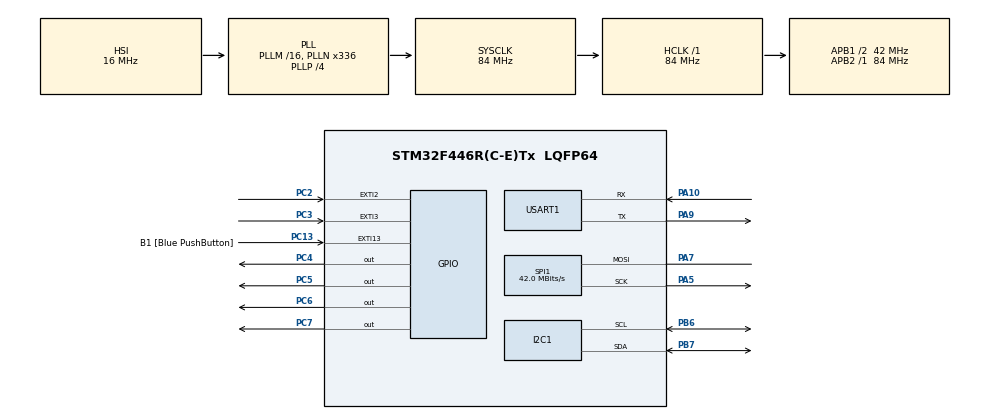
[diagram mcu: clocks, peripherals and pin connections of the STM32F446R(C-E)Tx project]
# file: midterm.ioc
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Mcu.Family=STM32F4
Mcu.Name=STM32F446R(C-E)Tx
Mcu.Package=LQFP64
NVIC.EXTI2_IRQn=true\:0\:0\:false\:false\:true\:true\:true\:true
NVIC.EXTI3_IRQn=true\:0\:0\:false\:false\:true\:true\:true\:true
NVIC.PriorityGroup=NVIC_PRIORITYGROUP_0
NVIC.TIM2_IRQn=true\:0\:0\:false\:false\:true\:true\:true\:true
PA10.Mode=Asynchronous
PA10.Signal=USART1_RX
PA13.GPIO_Label=TMS
PA13.Mode=Serial_Wire
PA13.Signal=SYS_JTMS-SWDIO
PA14.GPIO_Label=TCK
PA14.Mode=Serial_Wire
PA14.Signal=SYS_JTCK-SWCLK
PA5.Mode=Simplex_Bidirectional_Master
PA5.Signal=SPI1_SCK
PA7.Mode=Simplex_Bidirectional_Master
PA7.Signal=SPI1_MOSI
PA9.Mode=Asynchronous
PA9.Signal=USART1_TX
PB3.GPIO_Label=SWO
PB3.Signal=SYS_JTDO-SWO
PB6.Mode=I2C
PB6.Signal=I2C1_SCL
PB7.Mode=I2C
PB7.Signal=I2C1_SDA
PC13.GPIO_Label=B1 [Blue PushButton]
PC13.GPIO_ModeDefaultEXTI=GPIO_MODE_IT_FALLING
PC13.Signal=GPXTI13
PC14-OSC32_IN.Mode=LSE-External-Oscillator
PC14-OSC32_IN.Signal=RCC_OSC32_IN
PC15-OSC32_OUT.Mode=LSE-External-Oscillator
PC15-OSC32_OUT.Signal=RCC_OSC32_OUT
PC2.GPIO_PuPd=GPIO_PULLUP
PC2.Signal=GPXTI2
PC3.GPIO_PuPd=GPIO_PULLUP
PC3.Signal=GPXTI3
PC4.Signal=GPIO_Output
PC5.Signal=GPIO_Output
PC6.Signal=GPIO_Output
PC7.Signal=GPIO_Output
PH0-OSC_IN.Mode=HSE-External-Oscillator
PH0-OSC_IN.Signal=RCC_OSC_IN
PH1-OSC_OUT.Mode=HSE-External-Oscillator
PH1-OSC_OUT.Signal=RCC_OSC_OUT
ProjectManager.HeapSize=0x200
ProjectManager.StackSize=0x400
ProjectManager.TargetToolchain=STM32CubeIDE
RCC.48MHZClocksFreq_Value=84000000
RCC.AHBFreq_Value=84000000
RCC.APB1CLKDivider=RCC_HCLK_DIV2
RCC.APB1Freq_Value=42000000
RCC.APB1TimFreq_Value=84000000
RCC.APB2Freq_Value=84000000
RCC.APB2TimFreq_Value=84000000
RCC.CortexFreq_Value=84000000
RCC.FLatency-AdvancedSettings=FLASH_LATENCY_2
RCC.HCLKFreq_Value=84000000
RCC.HSE_VALUE=8000000
RCC.HSI_VALUE=16000000
RCC.PLLN=336
RCC.PLLP=RCC_PLLP_DIV4
RCC.SYSCLKFreq_VALUE=84000000
RCC.SYSCLKSource=RCC_SYSCLKSOURCE_PLLCLK
RCC.USBFreq_Value=168000000
RCC.VCOOutputFreq_Value=336000000
SPI1.CalculateBaudRate=42.0 MBits/s
SPI1.Direction=SPI_DIRECTION_1LINE
SPI1.Mode=SPI_MODE_MASTER
SPI1.VirtualType=VM_MASTER
TIM2.Period=999
TIM2.Prescaler=8399
USART1.VirtualMode=VM_ASYNC
VP_TIM2_VS_ClockSourceINT.Mode=Internal
board=NUCLEO-F446RE

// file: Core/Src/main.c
/* USER CODE BEGIN Header */
/**
  ******************************************************************************
  * @file           : main.c
  * @brief          : Main program body
  ******************************************************************************
  * @attention
  *
  * Copyright (c) 2026 STMicroelectronics.
  * All rights reserved.
  *
  * This software is licensed under terms that can be found in the LICENSE file
  * in the root directory of this software component.
  * If no LICENSE file comes with this software, it is provided AS-IS.
  *
  ******************************************************************************
  */
/* USER CODE END Header */
#include "main.h"

/* USER CODE BEGIN Includes */
#include <stdio.h>
#include <stdint.h>
#include <string.h>
#include <math.h>
/* USER CODE END Includes */

I2C_HandleTypeDef hi2c1;

SPI_HandleTypeDef hspi1;

TIM_HandleTypeDef htim2;

UART_HandleTypeDef huart1;

/* USER CODE BEGIN PV */
volatile uint8_t streams = 0;
long weight[2] = {0};
/* USER CODE END PV */

void SystemClock_Config(void);
static void MX_GPIO_Init(void);
static void MX_TIM2_Init(void);
static void MX_I2C1_Init(void);
static void MX_SPI1_Init(void);
static void MX_USART1_UART_Init(void);

/* USER CODE BEGIN 0 */
void HAL_GPIO_EXTI_Callback(uint16_t pin)
{
	uint8_t bit;
	uint16_t led;

	// set the led and bit
	if (pin == GPIO_PIN_2){
		bit = 0x01;
		led = GPIO_PIN_6;
	} else if (pin == GPIO_PIN_3){
		bit = 0x02;
		led = GPIO_PIN_7;
	} else return;

	if (HAL_GPIO_ReadPin(GPIOC, pin) == GPIO_PIN_RESET) {
		streams |= bit;
	} else streams &= ~bit;

	HAL_GPIO_WritePin(GPIOC, led, (streams & bit) ? GPIO_PIN_SET : GPIO_PIN_RESET);

	// CAN sends streams to tell which board to turn on

}

void Telemetry_Stream(void){
	// CAN to read the latest data into weight[0] and weight[1]
	char buf[48];
	int n = snprintf(buf, sizeof buf, "Scale 1: %ld g, Scale 2: %ld g\r\n", weight[0], weight[1]);
	HAL_UART_Transmit(&huart2, (uint8_t *)buf, n, 100);
}
/* USER CODE END 0 */

int main(void)
{

  /* MCU Configuration--------------------------------------------------------*/

  /* Reset of all peripherals, Initializes the Flash interface and the Systick. */
  HAL_Init();

  /* Configure the system clock */
  SystemClock_Config();

  /* Initialize all configured peripherals */
  MX_GPIO_Init();
  MX_TIM2_Init();
  MX_I2C1_Init();
  MX_SPI1_Init();
  MX_USART1_UART_Init();
  /* USER CODE BEGIN 2 */
  HAL_GPIO_EXTI_Callback(GPIO_PIN_2);
  HAL_GPIO_EXTI_Callback(GPIO_PIN_3);
  /* USER CODE END 2 */

  /* Infinite loop */
  while (1)
  {

    /* USER CODE BEGIN 3 */
	  Telemetry_Stream();
	  HAL_Delay(100);
  }
  /* USER CODE END 3 */
}

void SystemClock_Config(void)
{
  RCC_OscInitTypeDef RCC_OscInitStruct = {0};
  RCC_ClkInitTypeDef RCC_ClkInitStruct = {0};

  /** Configure the main internal regulator output voltage
  */
  __HAL_RCC_PWR_CLK_ENABLE();
  __HAL_PWR_VOLTAGESCALING_CONFIG(PWR_REGULATOR_VOLTAGE_SCALE3);

  /** Initializes the RCC Oscillators according to the specified parameters
  * in the RCC_OscInitTypeDef structure.
  */
  RCC_OscInitStruct.OscillatorType = RCC_OSCILLATORTYPE_HSI;
  RCC_OscInitStruct.HSIState = RCC_HSI_ON;
  RCC_OscInitStruct.HSICalibrationValue = RCC_HSICALIBRATION_DEFAULT;
  RCC_OscInitStruct.PLL.PLLState = RCC_PLL_ON;
  RCC_OscInitStruct.PLL.PLLSource = RCC_PLLSOURCE_HSI;
  RCC_OscInitStruct.PLL.PLLM = 16;
  RCC_OscInitStruct.PLL.PLLN = 336;
  RCC_OscInitStruct.PLL.PLLP = RCC_PLLP_DIV4;
  RCC_OscInitStruct.PLL.PLLQ = 2;
  RCC_OscInitStruct.PLL.PLLR = 2;
  if (HAL_RCC_OscConfig(&RCC_OscInitStruct) != HAL_OK)
  {
    Error_Handler();
  }

  /** Initializes the CPU, AHB and APB buses clocks
  */
  RCC_ClkInitStruct.ClockType = RCC_CLOCKTYPE_HCLK|RCC_CLOCKTYPE_SYSCLK
                              |RCC_CLOCKTYPE_PCLK1|RCC_CLOCKTYPE_PCLK2;
  RCC_ClkInitStruct.SYSCLKSource = RCC_SYSCLKSOURCE_PLLCLK;
  RCC_ClkInitStruct.AHBCLKDivider = RCC_SYSCLK_DIV1;
  RCC_ClkInitStruct.APB1CLKDivider = RCC_HCLK_DIV2;
  RCC_ClkInitStruct.APB2CLKDivider = RCC_HCLK_DIV1;

  if (HAL_RCC_ClockConfig(&RCC_ClkInitStruct, FLASH_LATENCY_2) != HAL_OK)
  {
    Error_Handler();
  }
}

static void MX_I2C1_Init(void)
{

  hi2c1.Instance = I2C1;
  hi2c1.Init.ClockSpeed = 100000;
  hi2c1.Init.DutyCycle = I2C_DUTYCYCLE_2;
  hi2c1.Init.OwnAddress1 = 0;
  hi2c1.Init.AddressingMode = I2C_ADDRESSINGMODE_7BIT;
  hi2c1.Init.DualAddressMode = I2C_DUALADDRESS_DISABLE;
  hi2c1.Init.OwnAddress2 = 0;
  hi2c1.Init.GeneralCallMode = I2C_GENERALCALL_DISABLE;
  hi2c1.Init.NoStretchMode = I2C_NOSTRETCH_DISABLE;
  if (HAL_I2C_Init(&hi2c1) != HAL_OK)
  {
    Error_Handler();
  }

}

static void MX_SPI1_Init(void)
{

  /* SPI1 parameter configuration*/
  hspi1.Instance = SPI1;
  hspi1.Init.Mode = SPI_MODE_MASTER;
  hspi1.Init.Direction = SPI_DIRECTION_1LINE;
  hspi1.Init.DataSize = SPI_DATASIZE_8BIT;
  hspi1.Init.CLKPolarity = SPI_POLARITY_LOW;
  hspi1.Init.CLKPhase = SPI_PHASE_1EDGE;
  hspi1.Init.NSS = SPI_NSS_SOFT;
  hspi1.Init.BaudRatePrescaler = SPI_BAUDRATEPRESCALER_2;
  hspi1.Init.FirstBit = SPI_FIRSTBIT_MSB;
  hspi1.Init.TIMode = SPI_TIMODE_DISABLE;
  hspi1.Init.CRCCalculation = SPI_CRCCALCULATION_DISABLE;
  hspi1.Init.CRCPolynomial = 10;
  if (HAL_SPI_Init(&hspi1) != HAL_OK)
  {
    Error_Handler();
  }

}

static void MX_TIM2_Init(void)
{

  TIM_ClockConfigTypeDef sClockSourceConfig = {0};
  TIM_MasterConfigTypeDef sMasterConfig = {0};

  htim2.Instance = TIM2;
  htim2.Init.Prescaler = 8399;
  htim2.Init.CounterMode = TIM_COUNTERMODE_UP;
  htim2.Init.Period = 999;
  htim2.Init.ClockDivision = TIM_CLOCKDIVISION_DIV1;
  htim2.Init.AutoReloadPreload = TIM_AUTORELOAD_PRELOAD_DISABLE;
  if (HAL_TIM_Base_Init(&htim2) != HAL_OK)
  {
    Error_Handler();
  }
  sClockSourceConfig.ClockSource = TIM_CLOCKSOURCE_INTERNAL;
  if (HAL_TIM_ConfigClockSource(&htim2, &sClockSourceConfig) != HAL_OK)
  {
    Error_Handler();
  }
  sMasterConfig.MasterOutputTrigger = TIM_TRGO_RESET;
  sMasterConfig.MasterSlaveMode = TIM_MASTERSLAVEMODE_DISABLE;
  if (HAL_TIMEx_MasterConfigSynchronization(&htim2, &sMasterConfig) != HAL_OK)
  {
    Error_Handler();
  }

}

static void MX_USART1_UART_Init(void)
{

  huart1.Instance = USART1;
  huart1.Init.BaudRate = 115200;
  huart1.Init.WordLength = UART_WORDLENGTH_8B;
  huart1.Init.StopBits = UART_STOPBITS_1;
  huart1.Init.Parity = UART_PARITY_NONE;
  huart1.Init.Mode = UART_MODE_TX_RX;
  huart1.Init.HwFlowCtl = UART_HWCONTROL_NONE;
  huart1.Init.OverSampling = UART_OVERSAMPLING_16;
  if (HAL_UART_Init(&huart1) != HAL_OK)
  {
    Error_Handler();
  }

}

static void MX_GPIO_Init(void)
{
  GPIO_InitTypeDef GPIO_InitStruct = {0};

  /* GPIO Ports Clock Enable */
  __HAL_RCC_GPIOC_CLK_ENABLE();
  __HAL_RCC_GPIOH_CLK_ENABLE();
  __HAL_RCC_GPIOA_CLK_ENABLE();
  __HAL_RCC_GPIOB_CLK_ENABLE();

  /*Configure GPIO pin Output Level */
  HAL_GPIO_WritePin(GPIOC, GPIO_PIN_4|GPIO_PIN_5|GPIO_PIN_6|GPIO_PIN_7, GPIO_PIN_RESET);

  /*Configure GPIO pin : B1_Pin */
  GPIO_InitStruct.Pin = B1_Pin;
  GPIO_InitStruct.Mode = GPIO_MODE_IT_FALLING;
  GPIO_InitStruct.Pull = GPIO_NOPULL;
  HAL_GPIO_Init(B1_GPIO_Port, &GPIO_InitStruct);

  /*Configure GPIO pins : PC2 PC3 */
  GPIO_InitStruct.Pin = GPIO_PIN_2|GPIO_PIN_3;
  GPIO_InitStruct.Mode = GPIO_MODE_IT_RISING;
  GPIO_InitStruct.Pull = GPIO_PULLUP;
  HAL_GPIO_Init(GPIOC, &GPIO_InitStruct);

  /*Configure GPIO pins : PC4 PC5 PC6 PC7 */
  GPIO_InitStruct.Pin = GPIO_PIN_4|GPIO_PIN_5|GPIO_PIN_6|GPIO_PIN_7;
  GPIO_InitStruct.Mode = GPIO_MODE_OUTPUT_PP;
  GPIO_InitStruct.Pull = GPIO_NOPULL;
  GPIO_InitStruct.Speed = GPIO_SPEED_FREQ_LOW;
  HAL_GPIO_Init(GPIOC, &GPIO_InitStruct);

  /* EXTI interrupt init*/
  HAL_NVIC_SetPriority(EXTI2_IRQn, 0, 0);
  HAL_NVIC_EnableIRQ(EXTI2_IRQn);

  HAL_NVIC_SetPriority(EXTI3_IRQn, 0, 0);
  HAL_NVIC_EnableIRQ(EXTI3_IRQn);

}

void Error_Handler(void)
{
  __disable_irq();
  while (1)
  {
  }
}
